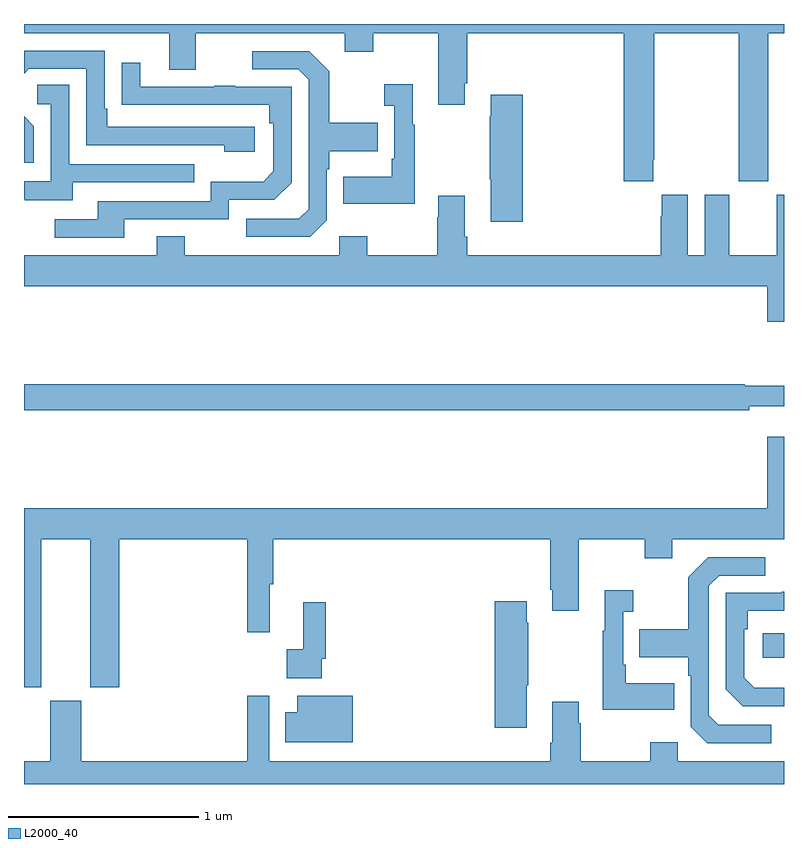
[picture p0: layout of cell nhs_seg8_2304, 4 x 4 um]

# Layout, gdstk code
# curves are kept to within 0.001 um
import gdstk
lib = gdstk.Library(unit=1e-6, precision=1e-09)
def R(c, l, rs):  # rectangles x0, y0, x1, y1
    for r in rs: c.add(gdstk.rectangle(r[:2], r[2:], *l))
def P(c, l, *ps):  # polygons
    for p in ps: c.add(gdstk.Polygon(p, *l))
L2000_40 = (2000, 40)

nhs_seg8_2304 = lib.new_cell('nhs_seg8_2304')
R(nhs_seg8_2304, L2000_40, [(260.889,1094.564,261,1094.694)])
P(nhs_seg8_2304, L2000_40, [(260.311,1097.185),(260.316,1097.185),(260.316,1097.852),(260.761,1097.852),(260.761,1097.073),(260.916,1097.073),(260.916,1097.852),(261,1097.852),(261,1097.9),(257,1097.9),(257,1097.852),(257.765,1097.852),(257.765,1097.658),(257.905,1097.658),(257.905,1097.852),(258.689,1097.852),(258.689,1097.753),(258.837,1097.753),(258.837,1097.852),(259.181,1097.852),(259.181,1097.475),(259.321,1097.475),(259.321,1097.587),(259.334,1097.587),(259.334,1097.852),(260.156,1097.852),(260.156,1097.073),(260.311,1097.073)],
  [(258.214,1097.358),(257.437,1097.358),(257.437,1097.455),(257.424,1097.455),(257.424,1097.76),(257,1097.76),(257,1097.639),(257.025,1097.664),(257.328,1097.664),(257.328,1097.262),(258.053,1097.262),(258.053,1097.228),(258.214,1097.228)],
  [(258.594,1096.866),(258.594,1097.135),(258.607,1097.135),(258.607,1097.231),(258.863,1097.231),(258.863,1097.379),(258.607,1097.379),(258.607,1097.651),(258.501,1097.757),(258.201,1097.757),(258.201,1097.661),(258.444,1097.661),(258.498,1097.607),(258.498,1096.926),(258.447,1096.875),(258.171,1096.875),(258.171,1096.779),(258.507,1096.779)],
  [(257.527,1096.872),(258.078,1096.872),(258.078,1096.974),(258.318,1096.974),(258.408,1097.064),(258.408,1097.571),(258.113,1097.571),(258.113,1097.576),(258.001,1097.576),(258.001,1097.571),(257.611,1097.571),(257.611,1097.695),(257.515,1097.695),(257.515,1097.476),(258.292,1097.475),(258.292,1097.378),(258.312,1097.378),(258.312,1097.124),(258.259,1097.071),(257.982,1097.071),(257.982,1096.968),(257.387,1096.968),(257.387,1096.872),(257.163,1096.872),(257.163,1096.776),(257.527,1096.776)],
  [(259.057,1097.371),(259.045,1097.371),(259.045,1097.584),(258.897,1097.584),(258.897,1097.471),(258.948,1097.471),(258.948,1097.191),(258.936,1097.191),(258.936,1097.095),(258.679,1097.095),(258.679,1096.955),(259.057,1096.955)],
  [(257.257,1097.067),(257.897,1097.067),(257.897,1097.163),(257.238,1097.163),(257.238,1097.579),(257.07,1097.579),(257.07,1097.478),(257.142,1097.478),(257.142,1097.073),(257,1097.073),(257,1096.977),(257.003,1096.977),(257.003,1096.973),(257.257,1096.973)],
  [(259.625,1097.527),(259.457,1097.527),(259.457,1097.414),(259.45,1097.414),(259.45,1097.083),(259.457,1097.083),(259.457,1096.86),(259.625,1096.86)],
  [(257.052,1097.362),(257,1097.414),(257,1097.169),(257.052,1097.169)],
  [(261,1097.002),(260.963,1097.002),(260.963,1096.684),(260.713,1096.684),(260.713,1097.002),(260.582,1097.002),(260.582,1096.684),(260.494,1096.684),(260.494,1097.002),(260.357,1097.002),(260.357,1096.889),(260.351,1096.889),(260.351,1096.684),(259.334,1096.684),(259.334,1096.78),(259.321,1096.78),(259.321,1096.996),(259.181,1096.996),(259.181,1096.883),(259.174,1096.883),(259.174,1096.684),(258.807,1096.684),(258.807,1096.783),(258.66,1096.783),(258.66,1096.684),(257.847,1096.684),(257.847,1096.783),(257.699,1096.783),(257.699,1096.684),(257,1096.684),(257,1096.52),(260.912,1096.52),(260.912,1096.332),(261,1096.332)],
  [(260.816,1095.887),(261,1095.887),(261,1095.997),(260.794,1095.997),(260.794,1096.004),(257,1096.004),(257,1095.868),(260.816,1095.868)],
  [(257.092,1095.188),(257.348,1095.188),(257.348,1094.409),(257.501,1094.409),(257.501,1095.188),(258.175,1095.188),(258.175,1094.7),(258.293,1094.7),(258.293,1094.952),(258.311,1094.952),(258.311,1095.188),(259.769,1095.188),(259.769,1094.923),(259.781,1094.923),(259.781,1094.811),(259.921,1094.811),(259.921,1095.188),(260.266,1095.188),(260.266,1095.089),(260.413,1095.089),(260.413,1095.188),(261,1095.188),(261,1095.727),(260.912,1095.727),(260.912,1095.352),(257,1095.352),(257,1094.409),(257.092,1094.409)],
  [(260.932,1094.211),(260.655,1094.211),(260.604,1094.262),(260.604,1094.943),(260.658,1094.997),(260.902,1094.997),(260.902,1095.093),(260.601,1095.093),(260.496,1094.987),(260.496,1094.715),(260.239,1094.715),(260.239,1094.567),(260.496,1094.567),(260.496,1094.471),(260.508,1094.471),(260.508,1094.202),(260.595,1094.115),(260.932,1094.115)],
  [(260.423,1094.431),(260.166,1094.431),(260.166,1094.527),(260.154,1094.527),(260.154,1094.807),(260.206,1094.807),(260.206,1094.92),(260.057,1094.92),(260.057,1094.707),(260.046,1094.707),(260.046,1094.291),(260.423,1094.291)],
  [(261,1094.407),(260.843,1094.407),(260.79,1094.46),(260.79,1094.714),(260.81,1094.714),(260.81,1094.811),(261,1094.811),(261,1094.912),(260.989,1094.912),(260.989,1094.907),(260.694,1094.907),(260.694,1094.4),(260.784,1094.31),(261,1094.31)],
  [(259.645,1094.419),(259.653,1094.419),(259.653,1094.75),(259.645,1094.75),(259.645,1094.863),(259.478,1094.863),(259.478,1094.196),(259.645,1094.196)],
  [(258.567,1094.56),(258.587,1094.56),(258.587,1094.857),(258.47,1094.857),(258.47,1094.609),(258.384,1094.609),(258.384,1094.456),(258.567,1094.456)],
  [(258.73,1094.365),(258.437,1094.365),(258.437,1094.278),(258.376,1094.278),(258.376,1094.12),(258.73,1094.12)],
  [(261,1094.02),(260.442,1094.02),(260.442,1094.119),(260.296,1094.119),(260.296,1094.02),(259.929,1094.02),(259.929,1094.219),(259.921,1094.219),(259.921,1094.332),(259.781,1094.332),(259.781,1094.116),(259.769,1094.116),(259.769,1094.02),(258.291,1094.02),(258.291,1094.365),(258.175,1094.365),(258.175,1094.02),(257.302,1094.02),(257.302,1094.337),(257.138,1094.337),(257.138,1094.02),(257,1094.02),(257,1093.9),(261,1093.9)])

lib.write_gds('nhs_seg8_2304.gds')
